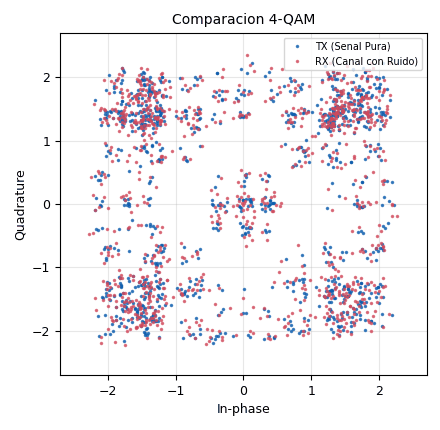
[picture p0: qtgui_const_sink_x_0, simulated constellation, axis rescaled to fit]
options:
  parameters:
    author: Juan Gerez Jimenez
    generate_options: qt_gui
    id: integrador_2026
    output_language: python
    title: integrador_2026
  states: {}

blocks:
- name: noise_var
  id: variable_qtgui_range
  parameters:
    label: Nivel de Ruido
    start: '0'
    step: '0.05'
    stop: '1'
    value: '0.1'
  states: {}
- name: qam4
  id: variable_constellation
  parameters:
    precision: '8'
    type: qpsk
  states: {}
- name: samp_rate
  id: variable
  parameters:
    value: '32000'
  states: {}
- name: analog_random_source_x_0
  id: analog_random_source_x
  parameters:
    max: '256'
    min: '0'
    num_samps: '1024'
    repeat: 'True'
    type: byte
  states: {}
- name: blocks_throttle2_0
  id: blocks_throttle2
  parameters:
    samples_per_second: samp_rate
    type: byte
  states: {}
- name: channels_channel_model_0
  id: channels_channel_model
  parameters:
    epsilon: '1.0'
    freq_offset: '0.0'
    noise_voltage: noise_var
    seed: '0'
    taps: '1.0'
  states: {}
- name: digital_constellation_modulator_0
  id: digital_constellation_modulator
  parameters:
    constellation: qam4
    differential: 'False'
    excess_bw: '0.35'
    samples_per_symbol: '4'
  states: {}
- name: qtgui_const_sink_x_0
  id: qtgui_const_sink_x
  parameters:
    label1: TX (Senal Pura)
    label2: RX (Canal con Ruido)
    name: '"Comparacion 4-QAM"'
    nconnections: '2'
    size: '1024'
    type: complex
  states: {}

connections:
- [analog_random_source_x_0, '0', blocks_throttle2_0, '0']
- [blocks_throttle2_0, '0', digital_constellation_modulator_0, '0']
- [channels_channel_model_0, '0', qtgui_const_sink_x_0, '1']
- [digital_constellation_modulator_0, '0', channels_channel_model_0, '0']
- [digital_constellation_modulator_0, '0', qtgui_const_sink_x_0, '0']

metadata:
  file_format: 1
  grc_version: 3.10.12.0
